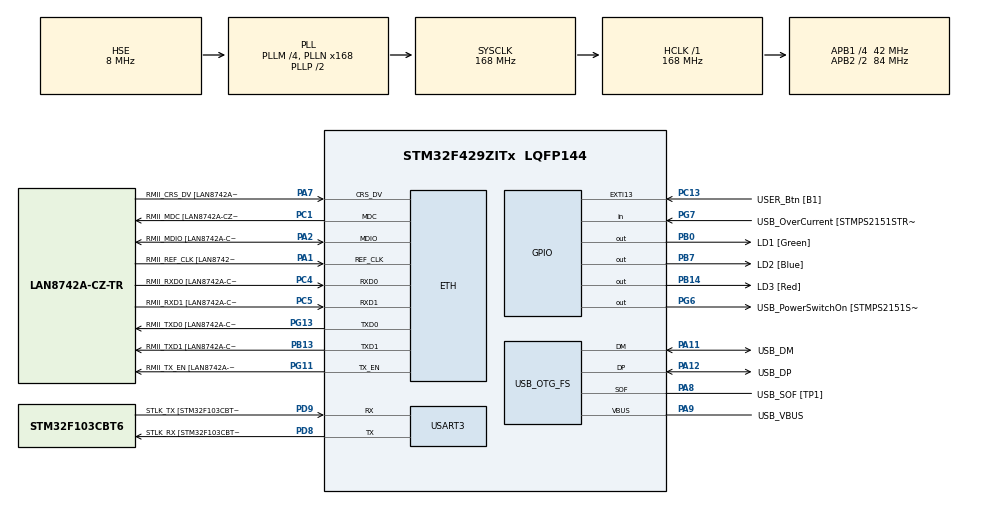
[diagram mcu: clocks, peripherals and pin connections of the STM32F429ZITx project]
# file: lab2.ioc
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Mcu.Family=STM32F4
RCC.CortexFreq_Value=168000000
PG6.Signal=GPIO_Output
PB14.GPIO_Label=LD3 [Red]
PG6.GPIO_Label=USB_PowerSwitchOn [STMPS2151STR_EN]
PA14.GPIO_Label=TCK
RCC.SYSCLKSourceVirtual=RCC_SYSCLKSOURCE_PLLCLK
PA11.Mode=Device_Only
PB0.GPIO_Label=LD1 [Green]
PC14/OSC32_IN.Mode=LSE-External-Oscillator
PC5.Mode=RMII
PC13.GPIO_Label=USER_Btn [B1]
PB13.GPIO_Label=RMII_TXD1 [LAN8742A-CZ-TR_TXD1]
PB13.Signal=ETH_TXD1
PG13.Signal=ETH_TXD0
PD9.Mode=Asynchronous
PG11.Signal=ETH_TX_EN
RCC.SYSCLKSource=RCC_SYSCLKSOURCE_PLLCLK
ProjectManager.StackSize=0x400
PA12.Signal=USB_OTG_FS_DP
ETH.PHY_Value=0
PH0/OSC_IN.Mode=HSE-External-Clock-Source
RCC.HCLKFreq_Value=168000000
RCC.APB2TimFreq_Value=168000000
PH1/OSC_OUT.Signal=RCC_OSC_OUT
PD8.Signal=USART3_TX
RCC.AHBFreq_Value=168000000
RCC.HSE_VALUE=8000000
RCC.PLLMUL=RCC_PLL_MUL9
PC4.GPIO_Label=RMII_RXD0 [LAN8742A-CZ-TR_RXD0]
PA14.Mode=Serial_Wire
VP_SYS_VS_tim1.Mode=TIM1
PA10.GPIO_Label=USB_ID
PB7.Signal=GPIO_Output
PA8.Signal=USB_OTG_FS_SOF
PG13.Mode=RMII
ETH.PHY_Name=LAN8742A_PHY_ADDRESS
VP_FREERTOS_VS_CMSIS_V1.Mode=CMSIS_V1
PH1/OSC_OUT.Mode=HSE-External-Clock-Source
PB7.GPIO_Label=LD2 [Blue]
Mcu.Package=LQFP144
NVIC.TimeBase=TIM1_UP_TIM10_IRQn
PC14/OSC32_IN.Signal=RCC_OSC32_IN
PA2.GPIO_Label=RMII_MDIO [LAN8742A-CZ-TR_MDIO]
NVIC.TimeBaseIP=TIM1
PA10.Signal=USB_OTG_FS_ID
USB_OTG_FS.VirtualMode=Device_Only
RCC.APB2CLKDivider=RCC_HCLK_DIV2
RCC.APB1TimFreq_Value=84000000
PG11.GPIO_Label=RMII_TX_EN [LAN8742A-CZ-TR_TXEN]
PC5.Signal=ETH_RXD1
PB13.Mode=RMII
PC4.Mode=RMII
ETH.AutoNegotiation=ETH_AUTONEGOTIATION_DISABLE
FREERTOS.Tasks01=led_R,0,128,led_R_handler,Default,NULL,Dynamic,NULL,NULL;led_G,-1,128,led_G_handler,Default,NULL,Dynamic,NULL,NULL
PA7.Mode=RMII
PG7.Signal=GPIO_Input
PD9.GPIO_Label=STLK_TX [STM32F103CBT6_PA2]
PC13.Signal=GPXTI13
PA9.GPIO_Label=USB_VBUS
PC4.Signal=ETH_RXD0
PA11.GPIO_Label=USB_DM
PD9.Signal=USART3_RX
RCC.APB1CLKDivider=RCC_HCLK_DIV4
PG13.GPIO_Label=RMII_TXD0 [LAN8742A-CZ-TR_TXD0]
ETH.PhyAddress=0
PA12.GPIO_Label=USB_DP
PD8.GPIO_Label=STLK_RX [STM32F103CBT6_PA3]
PA13.Signal=SYS_JTMS-SWDIO
FREERTOS.configUSE_IDLE_HOOK=1
PA9.Mode=Activate_VBUS
PA8.GPIO_Label=USB_SOF [TP1]
ProjectManager.TargetToolchain=STM32CubeIDE
PA9.Signal=USB_OTG_FS_VBUS
RCC.USBFreq_Value=48000000
PD8.Mode=Asynchronous
PA1.Signal=ETH_REF_CLK
PB14.Signal=GPIO_Output
board=NUCLEO-F429ZI
RCC.VCOOutputFreq_Value=336000000
PH0/OSC_IN.Signal=RCC_OSC_IN
RCC.APB2Freq_Value=84000000
PA1.Mode=RMII
RCC.PRESCALERUSB=RCC_USBCLKSOURCE_PLL_DIV1_5
PG7.GPIO_Label=USB_OverCurrent [STMPS2151STR_FAULT]
PA1.GPIO_Label=RMII_REF_CLK [LAN8742A-CZ-TR_REFCLK0]
PC1.GPIO_Label=RMII_MDC [LAN8742A-CZ-TR_MDC]
PA13.Mode=Serial_Wire
Mcu.Name=STM32F429ZITx
PA2.Signal=ETH_MDIO
PA13.GPIO_Label=TMS
RCC.APB2TimCLKDivider=2
RCC.48MHZClocksFreq_Value=48000000
RCC.SYSCLKFreq_VALUE=168000000
ETH.MediaInterface=ETH_MEDIA_INTERFACE_RMII
PA7.GPIO_Label=RMII_CRS_DV [LAN8742A-CZ-TR_CRS_DV]
PA12.Mode=Device_Only
PC5.GPIO_Label=RMII_RXD1 [LAN8742A-CZ-TR_RXD1]
USART3.VirtualMode=VM_ASYNC
PC15/OSC32_OUT.Mode=LSE-External-Oscillator
PG11.Mode=RMII
PA11.Signal=USB_OTG_FS_DM
PA14.Signal=SYS_JTCK-SWCLK
ProjectManager.HeapSize=0x200
NVIC.TIM1_UP_TIM10_IRQn=true\:0\:0\:false\:false\:true\:false\:false\:true
RCC.HSI_VALUE=16000000
PH0/OSC_IN.GPIO_Label=MCO [STM32F103CBT6_PA8]
RCC.PLLQ=7
NVIC.PriorityGroup=NVIC_PRIORITYGROUP_4
RCC.PLLM=4
RCC.PLLN=168
PA2.Mode=RMII
PC15/OSC32_OUT.Signal=RCC_OSC32_OUT
PA8.Mode=Activate_SOF_FS
RCC.APB1Freq_Value=42000000
PB0.Signal=GPIO_Output
PC1.Signal=ETH_MDC
PC1.Mode=RMII
PA7.Signal=ETH_CRS_DV

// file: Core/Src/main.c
/* USER CODE BEGIN Header */
/**
  ******************************************************************************
  * @file           : main.c
  * @brief          : Main program body
  ******************************************************************************
  * @attention
  *
  * <h2><center>&copy; Copyright (c) 2021 STMicroelectronics.
  * All rights reserved.</center></h2>
  *
  * This software component is licensed by ST under BSD 3-Clause license,
  * the "License"; You may not use this file except in compliance with the
  * License. You may obtain a copy of the License at:
  *                        opensource.org/licenses/BSD-3-Clause
  *
  ******************************************************************************
  */
/* USER CODE END Header */
#include "main.h"
#include "cmsis_os.h"

ETH_HandleTypeDef heth;

UART_HandleTypeDef huart3;

PCD_HandleTypeDef hpcd_USB_OTG_FS;

osThreadId led_RHandle;
osThreadId led_GHandle;

void SystemClock_Config(void);
static void MX_GPIO_Init(void);
static void MX_ETH_Init(void);
static void MX_USART3_UART_Init(void);
static void MX_USB_OTG_FS_PCD_Init(void);
void led_R_handler(void const * argument);
void led_G_handler(void const * argument);

int main(void)
{

  /* MCU Configuration--------------------------------------------------------*/

  /* Reset of all peripherals, Initializes the Flash interface and the Systick. */
  HAL_Init();

  /* Configure the system clock */
  SystemClock_Config();

  /* Initialize all configured peripherals */
  MX_GPIO_Init();
  MX_ETH_Init();
  MX_USART3_UART_Init();
  MX_USB_OTG_FS_PCD_Init();

  /* Create the thread(s) */
  /* definition and creation of led_R */
//  osThreadDef(led_R, led_R_handler, osPriorityNormal, 0, 128);
//  led_RHandle = osThreadCreate(osThread(led_R), NULL);

  /* definition and creation of led_G */
//  osThreadDef(led_G, led_G_handler, osPriorityBelowNormal, 0, 128);
//  led_GHandle = osThreadCreate(osThread(led_G), NULL);

  /* Start scheduler */
  osKernelStart();

  /* We should never get here as control is now taken by the scheduler */
  /* Infinite loop */
  while (1)
  {

  }
}

void SystemClock_Config(void)
{
  RCC_OscInitTypeDef RCC_OscInitStruct = {0};
  RCC_ClkInitTypeDef RCC_ClkInitStruct = {0};

  /** Configure the main internal regulator output voltage
  */
  __HAL_RCC_PWR_CLK_ENABLE();
  __HAL_PWR_VOLTAGESCALING_CONFIG(PWR_REGULATOR_VOLTAGE_SCALE1);
  /** Initializes the RCC Oscillators according to the specified parameters
  * in the RCC_OscInitTypeDef structure.
  */
  RCC_OscInitStruct.OscillatorType = RCC_OSCILLATORTYPE_HSE;
  RCC_OscInitStruct.HSEState = RCC_HSE_BYPASS;
  RCC_OscInitStruct.PLL.PLLState = RCC_PLL_ON;
  RCC_OscInitStruct.PLL.PLLSource = RCC_PLLSOURCE_HSE;
  RCC_OscInitStruct.PLL.PLLM = 4;
  RCC_OscInitStruct.PLL.PLLN = 168;
  RCC_OscInitStruct.PLL.PLLP = RCC_PLLP_DIV2;
  RCC_OscInitStruct.PLL.PLLQ = 7;
  if (HAL_RCC_OscConfig(&RCC_OscInitStruct) != HAL_OK)
  {
    Error_Handler();
  }
  /** Initializes the CPU, AHB and APB buses clocks
  */
  RCC_ClkInitStruct.ClockType = RCC_CLOCKTYPE_HCLK|RCC_CLOCKTYPE_SYSCLK
                              |RCC_CLOCKTYPE_PCLK1|RCC_CLOCKTYPE_PCLK2;
  RCC_ClkInitStruct.SYSCLKSource = RCC_SYSCLKSOURCE_PLLCLK;
  RCC_ClkInitStruct.AHBCLKDivider = RCC_SYSCLK_DIV1;
  RCC_ClkInitStruct.APB1CLKDivider = RCC_HCLK_DIV4;
  RCC_ClkInitStruct.APB2CLKDivider = RCC_HCLK_DIV2;

  if (HAL_RCC_ClockConfig(&RCC_ClkInitStruct, FLASH_LATENCY_5) != HAL_OK)
  {
    Error_Handler();
  }
}

static void MX_ETH_Init(void)
{

  heth.Instance = ETH;
  heth.Init.AutoNegotiation = ETH_AUTONEGOTIATION_DISABLE;
  heth.Init.Speed = ETH_SPEED_100M;
  heth.Init.DuplexMode = ETH_MODE_FULLDUPLEX;
  heth.Init.PhyAddress = LAN8742A_PHY_ADDRESS;
  heth.Init.MACAddr[0] =   0x00;
  heth.Init.MACAddr[1] =   0x80;
  heth.Init.MACAddr[2] =   0xE1;
  heth.Init.MACAddr[3] =   0x00;
  heth.Init.MACAddr[4] =   0x00;
  heth.Init.MACAddr[5] =   0x00;
  heth.Init.RxMode = ETH_RXPOLLING_MODE;
  heth.Init.ChecksumMode = ETH_CHECKSUM_BY_HARDWARE;
  heth.Init.MediaInterface = ETH_MEDIA_INTERFACE_RMII;

  if (HAL_ETH_Init(&heth) != HAL_OK)
  {
    Error_Handler();
  }

}

static void MX_USART3_UART_Init(void)
{

  huart3.Instance = USART3;
  huart3.Init.BaudRate = 115200;
  huart3.Init.WordLength = UART_WORDLENGTH_8B;
  huart3.Init.StopBits = UART_STOPBITS_1;
  huart3.Init.Parity = UART_PARITY_NONE;
  huart3.Init.Mode = UART_MODE_TX_RX;
  huart3.Init.HwFlowCtl = UART_HWCONTROL_NONE;
  huart3.Init.OverSampling = UART_OVERSAMPLING_16;
  if (HAL_UART_Init(&huart3) != HAL_OK)
  {
    Error_Handler();
  }

}

static void MX_USB_OTG_FS_PCD_Init(void)
{

  hpcd_USB_OTG_FS.Instance = USB_OTG_FS;
  hpcd_USB_OTG_FS.Init.dev_endpoints = 4;
  hpcd_USB_OTG_FS.Init.speed = PCD_SPEED_FULL;
  hpcd_USB_OTG_FS.Init.dma_enable = DISABLE;
  hpcd_USB_OTG_FS.Init.phy_itface = PCD_PHY_EMBEDDED;
  hpcd_USB_OTG_FS.Init.Sof_enable = ENABLE;
  hpcd_USB_OTG_FS.Init.low_power_enable = DISABLE;
  hpcd_USB_OTG_FS.Init.lpm_enable = DISABLE;
  hpcd_USB_OTG_FS.Init.vbus_sensing_enable = ENABLE;
  hpcd_USB_OTG_FS.Init.use_dedicated_ep1 = DISABLE;
  if (HAL_PCD_Init(&hpcd_USB_OTG_FS) != HAL_OK)
  {
    Error_Handler();
  }

}

static void MX_GPIO_Init(void)
{
  GPIO_InitTypeDef GPIO_InitStruct = {0};

  /* GPIO Ports Clock Enable */
  __HAL_RCC_GPIOC_CLK_ENABLE();
  __HAL_RCC_GPIOH_CLK_ENABLE();
  __HAL_RCC_GPIOA_CLK_ENABLE();
  __HAL_RCC_GPIOB_CLK_ENABLE();
  __HAL_RCC_GPIOD_CLK_ENABLE();
  __HAL_RCC_GPIOG_CLK_ENABLE();

  /*Configure GPIO pin Output Level */
  HAL_GPIO_WritePin(GPIOB, LD1_Pin|LD3_Pin|LD2_Pin, GPIO_PIN_RESET);

  /*Configure GPIO pin Output Level */
  HAL_GPIO_WritePin(USB_PowerSwitchOn_GPIO_Port, USB_PowerSwitchOn_Pin, GPIO_PIN_RESET);

  /*Configure GPIO pin : USER_Btn_Pin */
  GPIO_InitStruct.Pin = USER_Btn_Pin;
  GPIO_InitStruct.Mode = GPIO_MODE_IT_RISING;
  GPIO_InitStruct.Pull = GPIO_NOPULL;
  HAL_GPIO_Init(USER_Btn_GPIO_Port, &GPIO_InitStruct);

  /*Configure GPIO pins : LD1_Pin LD3_Pin LD2_Pin */
  GPIO_InitStruct.Pin = LD1_Pin|LD3_Pin|LD2_Pin;
  GPIO_InitStruct.Mode = GPIO_MODE_OUTPUT_PP;
  GPIO_InitStruct.Pull = GPIO_NOPULL;
  GPIO_InitStruct.Speed = GPIO_SPEED_FREQ_LOW;
  HAL_GPIO_Init(GPIOB, &GPIO_InitStruct);

  /*Configure GPIO pin : USB_PowerSwitchOn_Pin */
  GPIO_InitStruct.Pin = USB_PowerSwitchOn_Pin;
  GPIO_InitStruct.Mode = GPIO_MODE_OUTPUT_PP;
  GPIO_InitStruct.Pull = GPIO_NOPULL;
  GPIO_InitStruct.Speed = GPIO_SPEED_FREQ_LOW;
  HAL_GPIO_Init(USB_PowerSwitchOn_GPIO_Port, &GPIO_InitStruct);

  /*Configure GPIO pin : USB_OverCurrent_Pin */
  GPIO_InitStruct.Pin = USB_OverCurrent_Pin;
  GPIO_InitStruct.Mode = GPIO_MODE_INPUT;
  GPIO_InitStruct.Pull = GPIO_NOPULL;
  HAL_GPIO_Init(USB_OverCurrent_GPIO_Port, &GPIO_InitStruct);

}

/* USER CODE BEGIN 4 */
void vApplicationIdleHook(void){
	//blue
	int i=0;
	for(;i<4;i++){
		HAL_GPIO_TogglePin(GPIOB,GPIO_PIN_7);
		HAL_Delay(500);
	}
	osThreadDef(led_G, led_G_handler, osPriorityNormal, 0, 128);
	led_GHandle = osThreadCreate(osThread(led_G), NULL);
}
/* USER CODE END 4 */

void led_R_handler(void const * argument)
{
  /* USER CODE BEGIN 5 */
  /* Infinite loop */
	//red
	int i=0;
	for(;i<4;i++){
		HAL_GPIO_TogglePin(GPIOB,GPIO_PIN_14);
		HAL_Delay(500);
	}
	osThreadTerminate(led_RHandle);
  /* USER CODE END 5 */
}

void led_G_handler(void const * argument)
{
  /* USER CODE BEGIN led_G_handler */
  /* Infinite loop */
	//green

	int i=0;
	for(;i<6;i++){
		HAL_GPIO_TogglePin(GPIOB,GPIO_PIN_0);
		HAL_Delay(500);
	}
	osThreadDef(led_R, led_R_handler, osPriorityNormal, 0, 128);
	led_RHandle = osThreadCreate(osThread(led_R), NULL);
	osThreadTerminate(led_GHandle);
  /* USER CODE END led_G_handler */
}

 /**
  * @brief  Period elapsed callback in non blocking mode
  * @note   This function is called  when TIM1 interrupt took place, inside
  * HAL_TIM_IRQHandler(). It makes a direct call to HAL_IncTick() to increment
  * a global variable "uwTick" used as application time base.
  * @param  htim : TIM handle
  * @retval None
  */
void HAL_TIM_PeriodElapsedCallback(TIM_HandleTypeDef *htim)
{
  if (htim->Instance == TIM1) {
    HAL_IncTick();
  }
}

void Error_Handler(void)
{
  __disable_irq();
  while (1)
  {
  }
}

/************************ (C) COPYRIGHT STMicroelectronics *****END OF FILE****/
